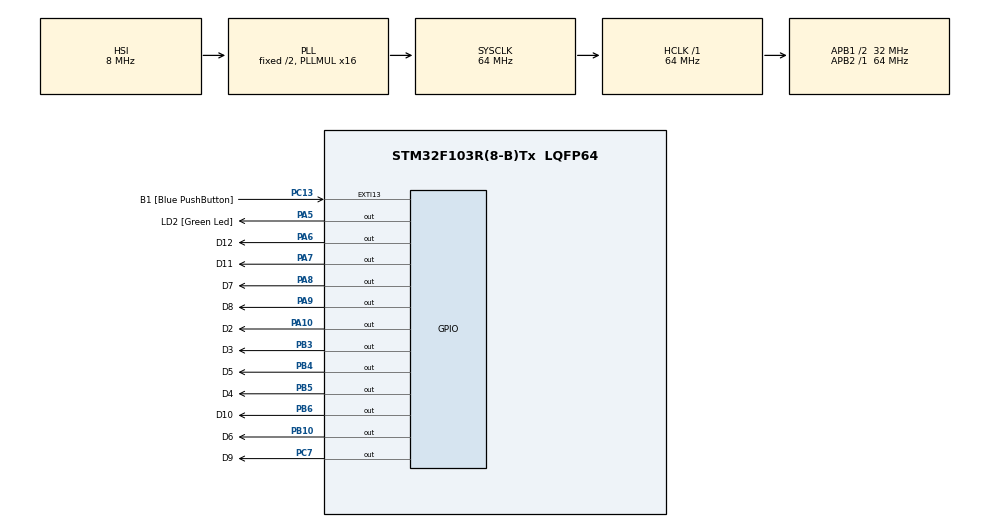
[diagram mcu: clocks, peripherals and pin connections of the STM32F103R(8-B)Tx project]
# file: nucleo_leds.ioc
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Mcu.Family=STM32F1
Mcu.Name=STM32F103R(8-B)Tx
Mcu.Package=LQFP64
NVIC.EXTI15_10_IRQn=true\:0\:0\:false\:false\:true\:true\:true\:true
NVIC.PriorityGroup=NVIC_PRIORITYGROUP_4
PA10.GPIO_Label=D2
PA10.Signal=GPIO_Output
PA13.GPIO_Label=TMS
PA13.Mode=Serial_Wire
PA13.Signal=SYS_JTMS-SWDIO
PA14.GPIO_Label=TCK
PA14.Mode=Serial_Wire
PA14.Signal=SYS_JTCK-SWCLK
PA2.Signal=USART2_TX
PA3.Signal=USART2_RX
PA5.GPIO_Label=LD2 [Green Led]
PA5.GPIO_ModeDefaultOutputPP=GPIO_MODE_OUTPUT_PP
PA5.GPIO_PuPd=GPIO_NOPULL
PA5.GPIO_Speed=GPIO_SPEED_FREQ_LOW
PA5.Signal=GPIO_Output
PA6.GPIO_Label=D12
PA6.Signal=GPIO_Output
PA7.GPIO_Label=D11
PA7.Signal=GPIO_Output
PA8.GPIO_Label=D7
PA8.Signal=GPIO_Output
PA9.GPIO_Label=D8
PA9.Signal=GPIO_Output
PB10.GPIO_Label=D6
PB10.Signal=GPIO_Output
PB3.GPIO_Label=D3
PB3.Signal=GPIO_Output
PB4.GPIO_Label=D5
PB4.Signal=GPIO_Output
PB5.GPIO_Label=D4
PB5.Signal=GPIO_Output
PB6.GPIO_Label=D10
PB6.Signal=GPIO_Output
PC13-TAMPER-RTC.GPIO_Label=B1 [Blue PushButton]
PC13-TAMPER-RTC.GPIO_ModeDefaultEXTI=GPIO_MODE_IT_FALLING
PC13-TAMPER-RTC.GPIO_PuPd=GPIO_NOPULL
PC13-TAMPER-RTC.Signal=GPXTI13
PC14-OSC32_IN.Signal=RCC_OSC32_IN
PC15-OSC32_OUT.Signal=RCC_OSC32_OUT
PC7.GPIO_Label=D9
PC7.Signal=GPIO_Output
PD0-OSC_IN.Mode=HSE-External-Oscillator
PD0-OSC_IN.Signal=RCC_OSC_IN
PD1-OSC_OUT.Mode=HSE-External-Oscillator
PD1-OSC_OUT.Signal=RCC_OSC_OUT
ProjectManager.HeapSize=0x200
ProjectManager.StackSize=0x400
ProjectManager.TargetToolchain=STM32CubeIDE
RCC.AHBFreq_Value=64000000
RCC.APB1CLKDivider=RCC_HCLK_DIV2
RCC.APB1Freq_Value=32000000
RCC.APB1TimFreq_Value=64000000
RCC.APB2Freq_Value=64000000
RCC.APB2TimFreq_Value=64000000
RCC.HCLKFreq_Value=64000000
RCC.PLLMUL=RCC_PLL_MUL16
RCC.SYSCLKFreq_VALUE=64000000
RCC.SYSCLKSource=RCC_SYSCLKSOURCE_PLLCLK
RCC.USBFreq_Value=64000000
board=NUCLEO-F103RB

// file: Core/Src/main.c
/* USER CODE BEGIN Header */
/**
  ******************************************************************************
  * @file           : main.c
  * @brief          : Main program body
  ******************************************************************************
  * @attention
  *
  * Copyright (c) 2025 STMicroelectronics.
  * All rights reserved.
  *
  * This software is licensed under terms that can be found in the LICENSE file
  * in the root directory of this software component.
  * If no LICENSE file comes with this software, it is provided AS-IS.
  *
  ******************************************************************************
  */
/* USER CODE END Header */
#include "main.h"

/* USER CODE BEGIN PTD */
typedef struct port_s
{
	GPIO_TypeDef *GPIOx;
	uint16_t GPIO_Pin;
} port_s;

typedef struct path_s
{
	size_t size;
	int path_idx[];
} path_s;
/* USER CODE END PTD */

/* USER CODE BEGIN PV */
static struct port_s ports[] =
{
	{.GPIOx=GPIOA, .GPIO_Pin=GPIO_PIN_5},
	{.GPIOx=GPIOA, .GPIO_Pin=D12_Pin},
	{.GPIOx=GPIOA, .GPIO_Pin=D11_Pin},
	{.GPIOx=GPIOB, .GPIO_Pin=D10_Pin},
	{.GPIOx=GPIOC, .GPIO_Pin=D9_Pin},
	{.GPIOx=GPIOA, .GPIO_Pin=D8_Pin},
	{.GPIOx=GPIOA, .GPIO_Pin=D7_Pin},
	{.GPIOx=GPIOB, .GPIO_Pin=D6_Pin},
	{.GPIOx=GPIOB, .GPIO_Pin=D5_Pin},
	{.GPIOx=GPIOB, .GPIO_Pin=D4_Pin},
	{.GPIOx=GPIOB, .GPIO_Pin=D3_Pin},
	{.GPIOx=GPIOA, .GPIO_Pin=D2_Pin}
};

static struct path_s path=
{
	.size=21,
    .path_idx={
  		  0, 1, 2, 3, 4, 5, 6, 7, 8, 9, 10, 11,
  		  10, 9, 8, 7, 6, 5, 4, 3 , 2, 1
  	  },
};
/* USER CODE END PV */

void SystemClock_Config(void);
static void MX_GPIO_Init(void);
/* USER CODE BEGIN PFP */
void init();
void loop();
/* USER CODE END PFP */

/* USER CODE BEGIN 0 */
void init()
{
  return;
}

void loop()
{
  for (size_t i = 0; i <= path.size; ++i)
  {
    HAL_GPIO_WritePin(ports[path.path_idx[i]].GPIOx, ports[path.path_idx[i]].GPIO_Pin, GPIO_PIN_SET);
    HAL_Delay(100);
    HAL_GPIO_WritePin(ports[path.path_idx[i]].GPIOx, ports[path.path_idx[i]].GPIO_Pin, GPIO_PIN_RESET);
  }
  return;
}
/* USER CODE END 0 */

int main(void)
{

  /* MCU Configuration--------------------------------------------------------*/

  /* Reset of all peripherals, Initializes the Flash interface and the Systick. */
  HAL_Init();

  /* Configure the system clock */
  SystemClock_Config();

  /* Initialize all configured peripherals */
  MX_GPIO_Init();
  /* USER CODE BEGIN 2 */
  init();
  /* USER CODE END 2 */

  /* Infinite loop */
  /* USER CODE BEGIN WHILE */
  while (1)
  {
	loop();
    /* USER CODE END WHILE */

  }
}

void SystemClock_Config(void)
{
  RCC_OscInitTypeDef RCC_OscInitStruct = {0};
  RCC_ClkInitTypeDef RCC_ClkInitStruct = {0};

  /** Initializes the RCC Oscillators according to the specified parameters
  * in the RCC_OscInitTypeDef structure.
  */
  RCC_OscInitStruct.OscillatorType = RCC_OSCILLATORTYPE_HSI;
  RCC_OscInitStruct.HSIState = RCC_HSI_ON;
  RCC_OscInitStruct.HSICalibrationValue = RCC_HSICALIBRATION_DEFAULT;
  RCC_OscInitStruct.PLL.PLLState = RCC_PLL_ON;
  RCC_OscInitStruct.PLL.PLLSource = RCC_PLLSOURCE_HSI_DIV2;
  RCC_OscInitStruct.PLL.PLLMUL = RCC_PLL_MUL16;
  if (HAL_RCC_OscConfig(&RCC_OscInitStruct) != HAL_OK)
  {
    Error_Handler();
  }

  /** Initializes the CPU, AHB and APB buses clocks
  */
  RCC_ClkInitStruct.ClockType = RCC_CLOCKTYPE_HCLK|RCC_CLOCKTYPE_SYSCLK
                              |RCC_CLOCKTYPE_PCLK1|RCC_CLOCKTYPE_PCLK2;
  RCC_ClkInitStruct.SYSCLKSource = RCC_SYSCLKSOURCE_PLLCLK;
  RCC_ClkInitStruct.AHBCLKDivider = RCC_SYSCLK_DIV1;
  RCC_ClkInitStruct.APB1CLKDivider = RCC_HCLK_DIV2;
  RCC_ClkInitStruct.APB2CLKDivider = RCC_HCLK_DIV1;

  if (HAL_RCC_ClockConfig(&RCC_ClkInitStruct, FLASH_LATENCY_2) != HAL_OK)
  {
    Error_Handler();
  }
}

static void MX_GPIO_Init(void)
{
  GPIO_InitTypeDef GPIO_InitStruct = {0};

  /* GPIO Ports Clock Enable */
  __HAL_RCC_GPIOC_CLK_ENABLE();
  __HAL_RCC_GPIOD_CLK_ENABLE();
  __HAL_RCC_GPIOA_CLK_ENABLE();
  __HAL_RCC_GPIOB_CLK_ENABLE();

  /*Configure GPIO pin Output Level */
  HAL_GPIO_WritePin(GPIOA, LD2_Pin|D12_Pin|D11_Pin|D7_Pin
                          |D8_Pin|D2_Pin, GPIO_PIN_RESET);

  /*Configure GPIO pin Output Level */
  HAL_GPIO_WritePin(GPIOB, D6_Pin|D3_Pin|D5_Pin|D4_Pin
                          |D10_Pin, GPIO_PIN_RESET);

  /*Configure GPIO pin Output Level */
  HAL_GPIO_WritePin(D9_GPIO_Port, D9_Pin, GPIO_PIN_RESET);

  /*Configure GPIO pin : B1_Pin */
  GPIO_InitStruct.Pin = B1_Pin;
  GPIO_InitStruct.Mode = GPIO_MODE_IT_FALLING;
  GPIO_InitStruct.Pull = GPIO_NOPULL;
  HAL_GPIO_Init(B1_GPIO_Port, &GPIO_InitStruct);

  /*Configure GPIO pin : PA2 */
  GPIO_InitStruct.Pin = GPIO_PIN_2;
  GPIO_InitStruct.Mode = GPIO_MODE_AF_PP;
  GPIO_InitStruct.Speed = GPIO_SPEED_FREQ_HIGH;
  HAL_GPIO_Init(GPIOA, &GPIO_InitStruct);

  /*Configure GPIO pin : PA3 */
  GPIO_InitStruct.Pin = GPIO_PIN_3;
  GPIO_InitStruct.Mode = GPIO_MODE_INPUT;
  GPIO_InitStruct.Pull = GPIO_NOPULL;
  HAL_GPIO_Init(GPIOA, &GPIO_InitStruct);

  /*Configure GPIO pins : LD2_Pin D12_Pin D11_Pin D7_Pin
                           D8_Pin D2_Pin */
  GPIO_InitStruct.Pin = LD2_Pin|D12_Pin|D11_Pin|D7_Pin
                          |D8_Pin|D2_Pin;
  GPIO_InitStruct.Mode = GPIO_MODE_OUTPUT_PP;
  GPIO_InitStruct.Pull = GPIO_NOPULL;
  GPIO_InitStruct.Speed = GPIO_SPEED_FREQ_LOW;
  HAL_GPIO_Init(GPIOA, &GPIO_InitStruct);

  /*Configure GPIO pins : D6_Pin D3_Pin D5_Pin D4_Pin
                           D10_Pin */
  GPIO_InitStruct.Pin = D6_Pin|D3_Pin|D5_Pin|D4_Pin
                          |D10_Pin;
  GPIO_InitStruct.Mode = GPIO_MODE_OUTPUT_PP;
  GPIO_InitStruct.Pull = GPIO_NOPULL;
  GPIO_InitStruct.Speed = GPIO_SPEED_FREQ_LOW;
  HAL_GPIO_Init(GPIOB, &GPIO_InitStruct);

  /*Configure GPIO pin : D9_Pin */
  GPIO_InitStruct.Pin = D9_Pin;
  GPIO_InitStruct.Mode = GPIO_MODE_OUTPUT_PP;
  GPIO_InitStruct.Pull = GPIO_NOPULL;
  GPIO_InitStruct.Speed = GPIO_SPEED_FREQ_LOW;
  HAL_GPIO_Init(D9_GPIO_Port, &GPIO_InitStruct);

  /* EXTI interrupt init*/
  HAL_NVIC_SetPriority(EXTI15_10_IRQn, 0, 0);
  HAL_NVIC_EnableIRQ(EXTI15_10_IRQn);

}

void Error_Handler(void)
{
  __disable_irq();
  while (1)
  {
  }
}
